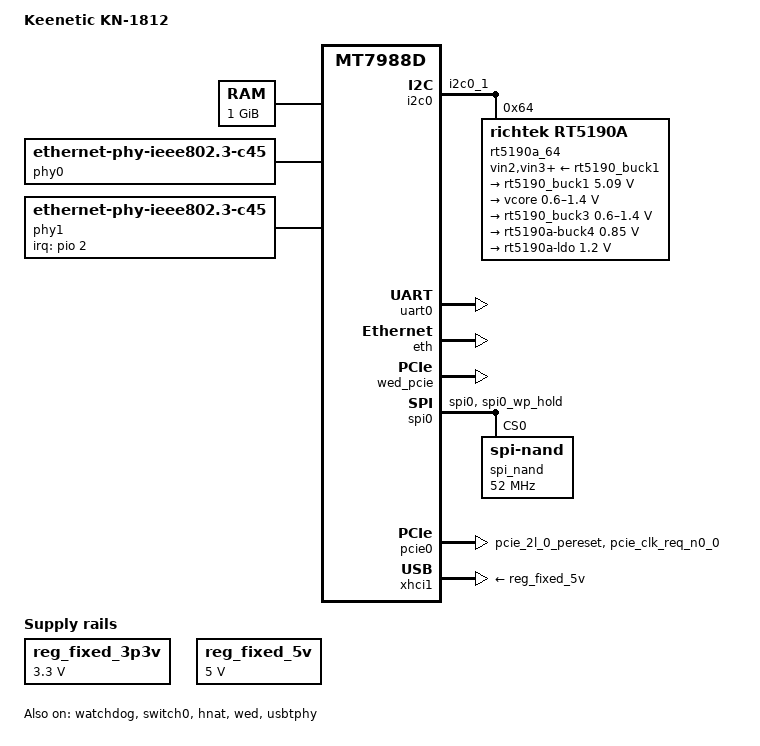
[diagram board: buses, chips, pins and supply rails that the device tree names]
/dts-v1/;
#include <dt-bindings/gpio/gpio.h>
#include <dt-bindings/pinctrl/mt65xx.h>
#include <dt-bindings/regulator/richtek,rt5190a-regulator.h>
#include <mediatek/mt7988d.dtsi>
/ {
	model = "Keenetic KN-1812";
	compatible = "keenetic,kn-1012", "mediatek,mt7988d";

	chosen {
		bootargs = "console=ttyS0,115200n1 loglevel=8 earlycon=uart8250,mmio32,0x11000000 pci=pcie_bus_perf";
	};

	memory@40000000 {
		device_type = "memory";
		reg = <0 0x40000000 0 0x40000000>;
	};

	nmbm_spim_nand {
		compatible = "generic,nmbm";
		lower-mtd-device = <&spi_nand>;
		forced-create;
	};

	phy0: phy-gmac2 {
		compatible = "ethernet-phy-ieee802.3-c45";
		pinctrl-names = "default";
		pinctrl-0 = <&i2p5gbe_led0_pins>;
		interrupt-parent = <&gic>;
		interrupts = <GIC_SPI 286 IRQ_TYPE_LEVEL_HIGH>;
		#address-cells = <1>;
		#size-cells = <0>;
		reg = <15>;
		phy-mode = "xgmii";
	};

	phy1: phy-gmac3 {
		compatible = "ethernet-phy-ieee802.3-c45";
		interrupt-parent = <&pio>;
		interrupts = <2 IRQ_TYPE_LEVEL_LOW>;
		#address-cells = <1>;
		#size-cells = <0>;
		reg = <27>;
		phy-mode = "usxgmii";
	};

	reg_fixed_3p3v: regulator-3p3v {
		compatible = "regulator-fixed";
		regulator-name = "fixed-3.3V";
		regulator-min-microvolt = <3300000>;
		regulator-max-microvolt = <3300000>;
		regulator-always-on;
	};

	reg_fixed_5v: regulator-5v {
		compatible = "regulator-fixed";
		regulator-name = "fixed-5V";
		regulator-min-microvolt = <5000000>;
		regulator-max-microvolt = <5000000>;
		regulator-always-on;
	};
};

&cpu0 {
	proc-supply = <&rt5190_buck3>;
};

&cpu1 {
	proc-supply = <&rt5190_buck3>;
};

&cpu2 {
	proc-supply = <&rt5190_buck3>;
};

&i2c0 {
	pinctrl-names = "default";
	pinctrl-0 = <&i2c0_pins>;
	status = "okay";

	rt5190a_64: rt5190a@64 {
		compatible = "richtek,rt5190a";
		reg = <0x64>;
		vin2-supply = <&rt5190_buck1>;
		vin3-supply = <&rt5190_buck1>;
		vin4-supply = <&rt5190_buck1>;

		regulators {
			rt5190_buck1: buck1 {
				regulator-name = "rt5190a-buck1";
				regulator-min-microvolt = <5090000>;
				regulator-max-microvolt = <5090000>;
				regulator-allowed-modes =
				    <RT5190A_OPMODE_AUTO RT5190A_OPMODE_FPWM>;
				regulator-boot-on;
				regulator-always-on;
			};

			buck2 {
				regulator-name = "vcore";
				regulator-min-microvolt = <600000>;
				regulator-max-microvolt = <1400000>;
				regulator-boot-on;
				regulator-always-on;
			};

			rt5190_buck3: buck3 {
				regulator-name = "proc";
				regulator-min-microvolt = <600000>;
				regulator-max-microvolt = <1400000>;
				regulator-boot-on;
			};

			buck4 {
				regulator-name = "rt5190a-buck4";
				regulator-min-microvolt = <850000>;
				regulator-max-microvolt = <850000>;
				regulator-allowed-modes =
				    <RT5190A_OPMODE_AUTO RT5190A_OPMODE_FPWM>;
				regulator-boot-on;
				regulator-always-on;
			};

			ldo {
				regulator-name = "rt5190a-ldo";
				regulator-min-microvolt = <1200000>;
				regulator-max-microvolt = <1200000>;
				regulator-boot-on;
				regulator-always-on;
			};
		};
	};
};

&uart0 {
	status = "okay";
};

&watchdog {
	status = "okay";
};

&eth {
	status = "okay";
	mediatek,gsw = <&switch0>;
	mediatek,phy = <&phy0>, <&phy1>;
};

&switch0 {
	nvmem-cells = <&phy_calibration_p0>,
		      <&phy_calibration_p1>,
		      <&phy_calibration_p2>,
		      <&phy_calibration_p3>;
	nvmem-cell-names = "phy-cal-data-p0",
			   "phy-cal-data-p1",
			   "phy-cal-data-p2",
			   "phy-cal-data-p3";
	status = "okay";
};

&hnat {
	eth-max-gmac = <3>;
	eth-ppe-num = <3>;
	status = "okay";
};

&wed {
	wdma_rx_ring_depth = <1024>;
	wdma_tx_ring_depth = <1024>;
	status = "okay";
};

&wed2 {
	status = "disabled";
};

&wed3 {
	status = "disabled";
};

&wed_pcie {
	status = "okay";
};

&spi0 {
	pinctrl-names = "default";
	pinctrl-0 = <&spi0_flash_pins>;
	status = "okay";

	spi_nand: spi_nand@0 {
		#address-cells = <1>;
		#size-cells = <1>;
		compatible = "spi-nand";
		reg = <0>;
		spi-max-frequency = <52000000>;
		spi-tx-bus-width = <4>;
		spi-rx-bus-width = <4>;
	};
};

&pcie0 {
	pinctrl-names = "default";
	pinctrl-0 = <&pcie0_pins>;
	wifi-reset-gpios = <&pio 7 GPIO_ACTIVE_HIGH>;
	wifi-reset-msleep = <100>;
	status = "okay";
};

&pcie3 {
	status = "disabled";
};

&usbtphy {
	status = "okay";
};

&xhci1 {
	vusb33-supply = <&reg_fixed_3p3v>;
	vbus-supply = <&reg_fixed_5v>;
	status = "okay";
};

&pio {
	mdio0_pins: mdio0-pins {
		mux {
			function = "mdio";
			groups = "mdc_mdio0";
		};

		conf {
			groups = "mdc_mdio0";
			drive-strength = <MTK_DRIVE_10mA>;
		};
	};

	gbe0_led0_pins: gbe0-pins {
		mux {
			function = "led";
			groups = "gbe0_led0";
		};
	};

	gbe1_led0_pins: gbe1-pins {
		mux {
			function = "led";
			groups = "gbe1_led0";
		};
	};

	gbe2_led0_pins: gbe2-pins {
		mux {
			function = "led";
			groups = "gbe2_led0";
		};
	};

	gbe3_led0_pins: gbe3-pins {
		mux {
			function = "led";
			groups = "gbe3_led0";
		};
	};

	i2p5gbe_led0_pins: 2p5gbe-pins {
		mux {
			function = "led";
			groups = "2p5gbe_led0";
		};
	};

	i2c0_pins: i2c0-pins-g0 {
		mux {
			function = "i2c";
			groups = "i2c0_1";
		};
	};

	pcie0_pins: pcie0-pins {
		mux {
			function = "pcie";
			groups = "pcie_2l_0_pereset", "pcie_clk_req_n0_0";
		};
	};

	spi0_flash_pins: spi0-pins {
		mux {
			function = "spi";
			groups = "spi0", "spi0_wp_hold";
		};
	};
};
